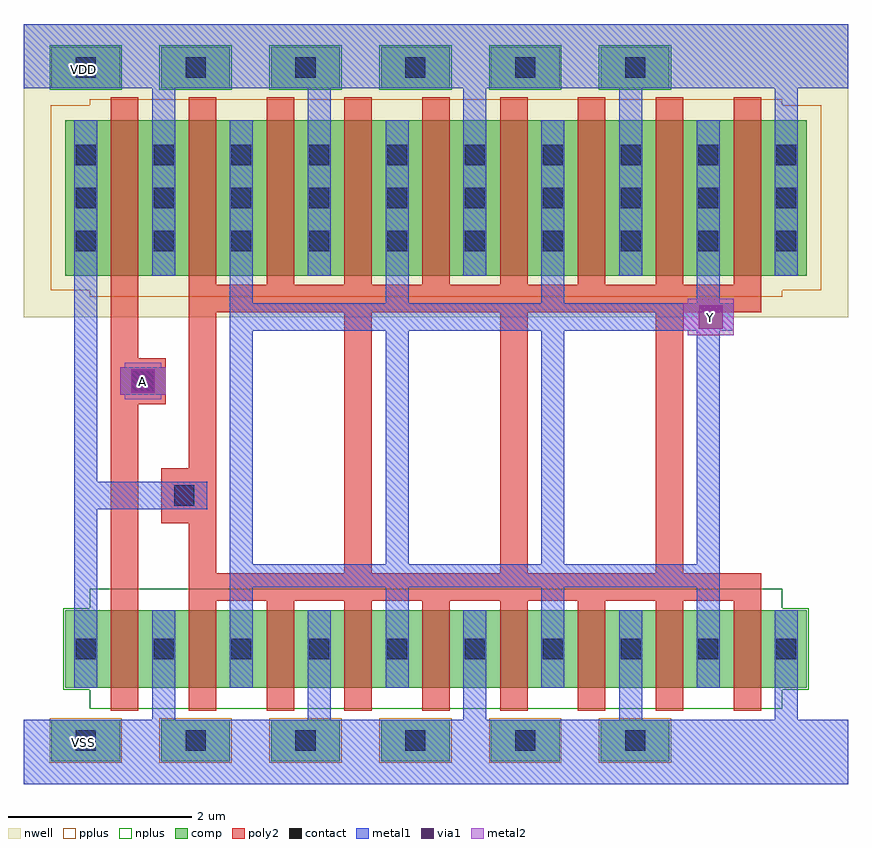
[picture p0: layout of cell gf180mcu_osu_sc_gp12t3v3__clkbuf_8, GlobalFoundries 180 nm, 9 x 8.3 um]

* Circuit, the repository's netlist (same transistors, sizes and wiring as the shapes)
* Copyright 2022 Google LLC
*
* Licensed under the Apache License, Version 2.0 (the "License");
* you may not use this file except in compliance with the License.
* You may obtain a copy of the License at
*
*      http://www.apache.org/licenses/LICENSE-2.0
*
* Unless required by applicable law or agreed to in writing, software
* distributed under the License is distributed on an "AS IS" BASIS,
* WITHOUT WARRANTIES OR CONDITIONS OF ANY KIND, either express or implied.
* See the License for the specific language governing permissions and
* limitations under the License.

* NGSPICE file created from gf180mcu_osu_sc_gp12t3v3__clkbuf_8.ext - technology: gf180mcuC

.subckt gf180mcu_osu_sc_gp12t3v3__clkbuf_8 A Y VDD VSS
X0 Y a_9_21# VDD VDD pfet_03p3 w=1.7u l=0.3u
X1 VDD a_9_21# Y VDD pfet_03p3 w=1.7u l=0.3u
X2 VDD a_9_21# Y VDD pfet_03p3 w=1.7u l=0.3u
X3 Y a_9_21# VDD VDD pfet_03p3 w=1.7u l=0.3u
X4 Y a_9_21# VSS VSS nfet_03p3 w=0.85u l=0.3u
X5 VDD A a_9_21# VDD pfet_03p3 w=1.7u l=0.3u
X6 VSS a_9_21# Y VSS nfet_03p3 w=0.85u l=0.3u
X7 VSS a_9_21# Y VSS nfet_03p3 w=0.85u l=0.3u
X8 VSS A a_9_21# VSS nfet_03p3 w=0.85u l=0.3u
X9 VSS a_9_21# Y VSS nfet_03p3 w=0.85u l=0.3u
X10 VSS a_9_21# Y VSS nfet_03p3 w=0.85u l=0.3u
X11 Y a_9_21# VSS VSS nfet_03p3 w=0.85u l=0.3u
X12 Y a_9_21# VSS VSS nfet_03p3 w=0.85u l=0.3u
X13 Y a_9_21# VSS VSS nfet_03p3 w=0.85u l=0.3u
X14 VDD a_9_21# Y VDD pfet_03p3 w=1.7u l=0.3u
X15 Y a_9_21# VDD VDD pfet_03p3 w=1.7u l=0.3u
X16 VDD a_9_21# Y VDD pfet_03p3 w=1.7u l=0.3u
X17 Y a_9_21# VDD VDD pfet_03p3 w=1.7u l=0.3u
.ends

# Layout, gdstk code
import gdstk
lib = gdstk.Library(unit=1e-6, precision=1e-09)
def R(c, l, rs):  # rectangles x0, y0, x1, y1
    for r in rs: c.add(gdstk.rectangle(r[:2], r[2:], *l))
def A(c, l, x, y, w, h, nx, ny, dx, dy):  # array of equal rectangles
    R(c, l, [(x+i*dx, y+j*dy, x+i*dx+w, y+j*dy+h) for i in range(nx) for j in range(ny)])
nwell = (21, 0)
comp = (22, 0)
poly2 = (30, 0)
pplus = (31, 0)
nplus = (32, 0)
contact = (33, 0)
metal1 = (34, 0)
via1 = (35, 0)
metal2 = (36, 0)

gf180mcu_osu_sc_gp12t3v3 = lib.new_cell('gf180mcu_osu_sc_gp12t3v3__clkbuf_8')
R(gf180mcu_osu_sc_gp12t3v3, nwell, [(0,5.1,9,8.3)])
A(gf180mcu_osu_sc_gp12t3v3, comp, 0.3, 0.25, 0.75, 0.45, 6, 2, 1.2, 7.35)
R(gf180mcu_osu_sc_gp12t3v3, comp, [(0.45,1.05,8.55,1.9), (0.45,5.55,8.55,7.25)])
A(gf180mcu_osu_sc_gp12t3v3, poly2, 1.8, 0.8, 0.3, 1.2, 8, 1, 0.85, 0)
A(gf180mcu_osu_sc_gp12t3v3, poly2, 3.5, 2.3, 0.3, 2.85, 3, 1, 1.7, 0)
A(gf180mcu_osu_sc_gp12t3v3, poly2, 1.8, 5.45, 0.3, 2.05, 8, 1, 0.85, 0)
R(gf180mcu_osu_sc_gp12t3v3, poly2, [(0.95,0.8,1.25,4.15), (1.8,2,8.05,2.3), (1.8,2.3,2.1,2.85), (1.5,2.85,2.1,3.45), (1.8,3.45,2.1,5.15), (0.95,4.15,1.55,4.65), (0.95,4.65,1.25,7.5), (1.8,5.15,8.05,5.45)])
A(gf180mcu_osu_sc_gp12t3v3, pplus, 0.28, 0.23, 0.79, 0.49, 6, 1, 1.2, 0)
R(gf180mcu_osu_sc_gp12t3v3, pplus, [(0.72,5.32,8.28,5.39), (0.29,5.39,8.71,7.41), (0.72,7.41,8.28,7.48)])
A(gf180mcu_osu_sc_gp12t3v3, nplus, 0.28, 7.58, 0.79, 0.49, 6, 1, 1.2, 0)
R(gf180mcu_osu_sc_gp12t3v3, nplus, [(0.72,0.82,8.28,1.03), (0.43,1.03,8.57,1.92), (0.72,1.92,8.28,2.13)])
A(gf180mcu_osu_sc_gp12t3v3, contact, 0.565, 0.365, 0.22, 0.22, 6, 2, 1.2, 7.35)
A(gf180mcu_osu_sc_gp12t3v3, contact, 0.565, 1.365, 0.22, 0.22, 10, 2, 0.85, 4.455)
A(gf180mcu_osu_sc_gp12t3v3, contact, 0.565, 6.29, 0.22, 0.22, 10, 2, 0.85, 0.47)
R(gf180mcu_osu_sc_gp12t3v3, contact, [(1.64,3.04,1.86,3.26), (1.19,4.29,1.41,4.51)])
A(gf180mcu_osu_sc_gp12t3v3, metal1, 1.4, 0.7, 0.25, 1.2, 5, 1, 1.7, 0)
A(gf180mcu_osu_sc_gp12t3v3, metal1, 2.25, 1.05, 0.25, 1.1, 4, 1, 1.7, 0)
A(gf180mcu_osu_sc_gp12t3v3, metal1, 2.25, 2.4, 0.25, 2.55, 4, 1, 1.7, 0)
A(gf180mcu_osu_sc_gp12t3v3, metal1, 2.25, 5.25, 0.25, 2, 4, 1, 1.7, 0)
A(gf180mcu_osu_sc_gp12t3v3, metal1, 1.4, 5.55, 0.25, 2.05, 5, 1, 1.7, 0)
R(gf180mcu_osu_sc_gp12t3v3, metal1, [(0,0,9,0.7), (0.55,1.05,0.8,3), (2.25,2.15,7.6,2.4), (0.55,3,2,3.3), (0.55,3.3,0.8,7.25), (1.05,4.25,1.55,4.55), (2.25,4.95,7.75,5.25), (0,7.6,9,8.3)])
R(gf180mcu_osu_sc_gp12t3v3, via1, [(1.17,4.27,1.43,4.53), (7.37,4.97,7.63,5.23)])
R(gf180mcu_osu_sc_gp12t3v3, metal2, [(1.1,4.2,1.5,4.25), (1.05,4.25,1.55,4.55), (1.1,4.55,1.5,4.6), (7.25,4.9,7.75,4.95), (7.2,4.95,7.75,5.25), (7.25,5.25,7.75,5.3)])
gf180mcu_osu_sc_gp12t3v3.add(gdstk.Label('A', (1.3,4.4), layer=36, texttype=10))
gf180mcu_osu_sc_gp12t3v3.add(gdstk.Label('Y', (7.5,5.1), layer=36, texttype=10))
gf180mcu_osu_sc_gp12t3v3.add(gdstk.Label('VDD', (0.65,7.8), layer=34, texttype=10))
gf180mcu_osu_sc_gp12t3v3.add(gdstk.Label('VSS', (0.65,0.45), layer=34, texttype=10))

lib.write_gds('gf180mcu_osu_sc_gp12t3v3__clkbuf_8.gds')
